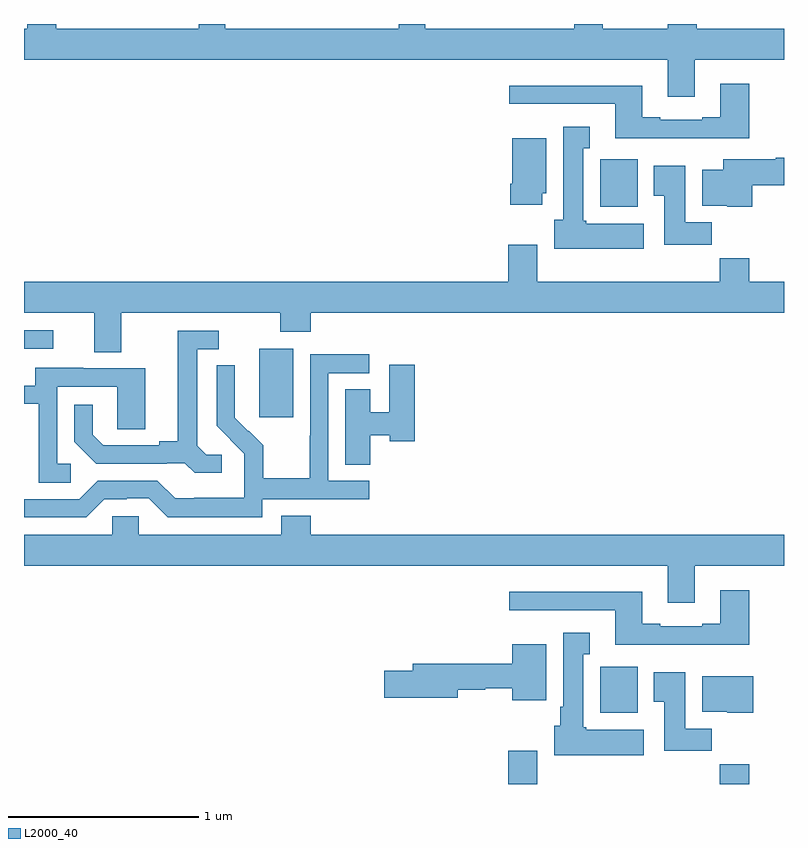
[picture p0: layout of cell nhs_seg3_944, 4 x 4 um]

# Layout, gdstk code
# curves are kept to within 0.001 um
import gdstk
lib = gdstk.Library(unit=1e-6, precision=1e-09)
def R(c, l, rs):  # rectangles x0, y0, x1, y1
    for r in rs: c.add(gdstk.rectangle(r[:2], r[2:], *l))
def P(c, l, *ps):  # polygons
    for p in ps: c.add(gdstk.Polygon(p, *l))
L2000_40 = (2000, 40)

nhs_seg3_944 = lib.new_cell('nhs_seg3_944')
R(nhs_seg3_944, L2000_40, [(161.549,734.4,161.701,734.575), (162.661,734.4,162.818,734.504), (162.032,734.774,162.229,735.016), (160.238,736.329,160.417,736.69), (159,736.692,159.154,736.788), (162.033,737.438,162.229,737.688)])
P(nhs_seg3_944, L2000_40, [(162.529,738.212),(163,738.212),(163,738.376),(162.542,738.376),(162.542,738.4),(162.389,738.4),(162.389,738.376),(162.045,738.376),(162.045,738.4),(161.897,738.4),(161.897,738.376),(161.113,738.376),(161.113,738.4),(160.973,738.4),(160.973,738.376),(160.059,738.376),(160.059,738.4),(159.921,738.4),(159.921,738.376),(159.169,738.376),(159.169,738.4),(159.017,738.4),(159.017,738.376),(159,738.376),(159,738.212),(162.389,738.212),(162.389,738.018),(162.529,738.018)],
  [(162.818,738.085),(162.665,738.085),(162.665,737.908),(162.569,737.908),(162.569,737.895),(162.349,737.895),(162.349,737.908),(162.253,737.908),(162.253,738.076),(161.553,738.076),(161.553,737.979),(162.113,737.979),(162.113,737.798),(162.818,737.798)],
  [(162.262,737.35),(161.958,737.35),(161.958,737.364),(161.944,737.364),(161.944,737.747),(161.977,737.747),(161.977,737.86),(161.837,737.86),(161.837,737.37),(161.792,737.37),(161.792,737.216),(162.262,737.216)],
  [(161.728,737.508),(161.749,737.508),(161.749,737.8),(161.57,737.8),(161.57,737.56),(161.558,737.56),(161.558,737.448),(161.728,737.448)],
  [(162.833,737.552),(163,737.552),(163,737.696),(162.956,737.696),(162.956,737.689),(162.68,737.689),(162.68,737.632),(162.569,737.632),(162.569,737.444),(162.702,737.444),(162.702,737.438),(162.833,737.438)],
  [(162.62,737.356),(162.481,737.356),(162.481,737.653),(162.314,737.653),(162.314,737.497),(162.371,737.497),(162.371,737.238),(162.62,737.238)],
  [(159.511,736.88),(160.348,736.88),(160.348,736.781),(160.508,736.781),(160.508,736.88),(163,736.88),(163,737.044),(162.818,737.044),(162.818,737.168),(162.661,737.168),(162.661,737.044),(161.701,737.044),(161.701,737.239),(161.549,737.239),(161.549,737.044),(159,737.044),(159,736.88),(159.371,736.88),(159.371,736.672),(159.511,736.672)],
  [(160.042,736.134),(159.96,736.134),(159.913,736.181),(159.913,736.689),(160.024,736.689),(160.024,736.785),(159.809,736.785),(159.809,736.205),(159.713,736.205),(159.713,736.182),(159.418,736.182),(159.361,736.239),(159.361,736.396),(159.264,736.396),(159.264,736.202),(159.38,736.086),(159.752,736.086),(159.752,736.089),(159.846,736.089),(159.898,736.037),(160.042,736.037)],
  [(160.254,735.9),(160.816,735.9),(160.816,735.996),(160.602,735.996),(160.602,736.563),(160.816,736.563),(160.816,736.662),(160.506,736.662),(160.506,736.232),(160.504,736.232),(160.504,736.009),(160.259,736.009),(160.259,736.183),(160.182,736.26),(160.179,736.257),(160.109,736.328),(160.11,736.604),(160.014,736.604),(160.014,736.286),(160.16,736.138),(160.16,736.041),(160.158,736.041),(160.158,735.907),(159.895,735.907),(159.895,735.903),(159.795,735.903),(159.702,735.996),(159.387,735.996),(159.291,735.9),(159,735.9),(159,735.804),(159.327,735.804),(159.423,735.9),(159.542,735.9),(159.542,735.903),(159.657,735.903),(159.757,735.803),(160.254,735.803)],
  [(160.822,736.235),(160.926,736.235),(160.926,736.205),(161.057,736.205),(161.057,736.606),(160.922,736.606),(160.922,736.357),(160.822,736.357),(160.822,736.478),(160.691,736.478),(160.691,736.081),(160.822,736.081)],
  [(159.247,736.086),(159.174,736.086),(159.174,736.491),(159.492,736.491),(159.492,736.267),(159.637,736.267),(159.637,736.587),(159.313,736.587),(159.313,736.591),(159.059,736.591),(159.059,736.497),(159,736.497),(159,736.401),(159.078,736.401),(159.078,735.985),(159.247,735.985)],
  [(162.529,735.548),(163,735.548),(163,735.712),(160.508,735.712),(160.508,735.811),(160.355,735.811),(160.355,735.712),(159.603,735.712),(159.603,735.81),(159.465,735.81),(159.465,735.712),(159,735.712),(159,735.548),(162.389,735.548),(162.389,735.354),(162.529,735.354)],
  [(162.818,735.421),(162.665,735.421),(162.665,735.244),(162.569,735.244),(162.569,735.231),(162.349,735.231),(162.349,735.244),(162.253,735.244),(162.253,735.412),(161.553,735.412),(161.553,735.315),(162.113,735.315),(162.113,735.134),(162.818,735.134)],
  [(162.262,734.686),(161.958,734.686),(161.958,734.7),(161.944,734.7),(161.944,735.083),(161.977,735.083),(161.977,735.196),(161.837,735.196),(161.837,734.806),(161.822,734.806),(161.822,734.706),(161.792,734.706),(161.792,734.552),(162.262,734.552)],
  [(161.749,735.136),(161.57,735.136),(161.57,735.032),(161.045,735.032),(161.045,734.996),(160.896,734.996),(160.896,734.854),(161.284,734.854),(161.284,734.896),(161.427,734.896),(161.427,734.904),(161.57,734.904),(161.57,734.84),(161.749,734.84)],
  [(162.62,734.692),(162.481,734.692),(162.481,734.989),(162.314,734.989),(162.314,734.833),(162.371,734.833),(162.371,734.574),(162.62,734.574)],
  [(162.838,734.968),(162.569,734.968),(162.569,734.78),(162.702,734.78),(162.702,734.774),(162.838,734.774)])

lib.write_gds('nhs_seg3_944.gds')
